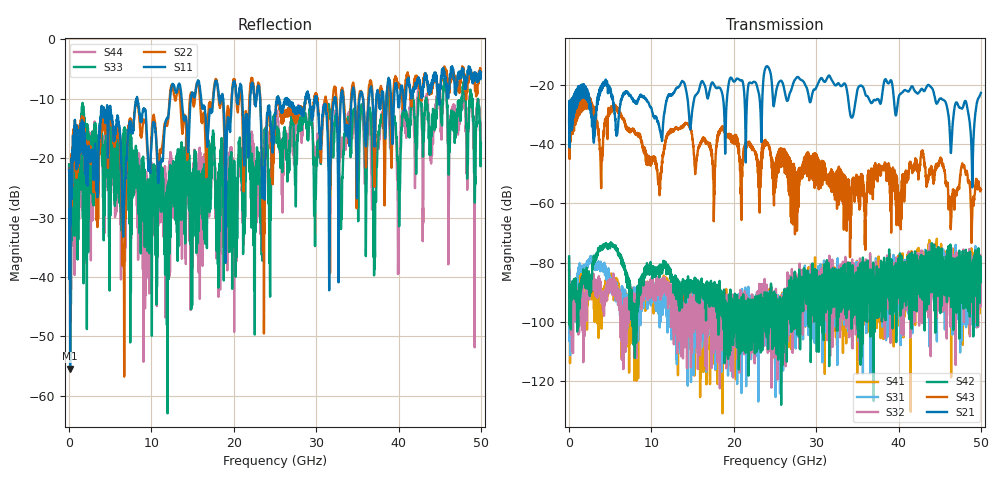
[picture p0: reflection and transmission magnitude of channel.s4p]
!Agilent Technologies,N5247A,US51170199,A.09.90.13
!Agilent N5247A: A.09.90.13
!Date: Wednesday, December 16, 2015 12:44:14
!Correction: S11(Full 4 Port(1,2,3,4))
!S12(Full 4 Port(1,2,3,4))
!S13(Full 4 Port(1,2,3,4))
!S14(Full 4 Port(1,2,3,4))
!S21(Full 4 Port(1,2,3,4))
!S22(Full 4 Port(1,2,3,4))
!S23(Full 4 Port(1,2,3,4))
!S24(Full 4 Port(1,2,3,4))
!S31(Full 4 Port(1,2,3,4))
!S32(Full 4 Port(1,2,3,4))
!S33(Full 4 Port(1,2,3,4))
!S34(Full 4 Port(1,2,3,4))
!S41(Full 4 Port(1,2,3,4))
!S42(Full 4 Port(1,2,3,4))
!S43(Full 4 Port(1,2,3,4))
!S44(Full 4 Port(1,2,3,4))
!S4P File: Measurements: <S11,S12,S13,S14>,
!<S21,S22,S23,S24>,
!<S31,S32,S33,S34>,
!<S41,S42,S43,S44>:
# Hz S  dB  R 50
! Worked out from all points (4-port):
!   3201 points, 10 MHz to 50 GHz, reference 50 ohm
!   strongest paths, dB at 10 MHz, 12.51 GHz, 25 GHz, 37.5 GHz, 50 GHz:
!     S21: -32.5, -23.4, -24.8, -24.9, -22.8
!     S43: -33.3, -35.1, -47.4, -47.5, -55.3
!     S42: -77.9, -85.0, -92.8, -86.0, -80.4
!     S32: -78.5, -101.9, -90.9, -82.7, -84.0
!     S31: -80.1, -95.8, -102.0, -86.0, -89.5
!     S41: -82.5, -91.8, -94.5, -92.7, -86.6
!   lowest |S11| = -55.5 dB at 135 MHz (marker M1), VSWR 1.00, Z = 50.1 + j0.16 ohm
!   |S11| at or under -10 dB: start of sweep to 8.23 GHz; 8.278 GHz to 12.26 GHz (3.981 GHz wide, 38.8 % of centre); 26.47 GHz to 28.7 GHz (2.237 GHz wide, 8.11 % of centre)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
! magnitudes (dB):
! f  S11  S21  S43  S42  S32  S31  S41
! 10 MHz  -22.0  -32.5  -33.3  -77.9  -78.5  -80.1  -82.5
! 135 MHz  -55.5  -32.7  -33.1  -98.8  -98.5  -111.3  -106.9
! 10.91 GHz  -22.7  -33.6  -54.1  -81.4  -88.5  -92.2  -95.9
! 14.19 GHz  -13.2  -21.7  -33.1  -87.0  -96.5  -95.9  -95.2
! 24.05 GHz  -12.5  -13.8  -39.5  -92.9  -102.4  -103.6  -91.8
! 48.94 GHz  -6.2  -52.0  -65.5  -80.4  -86.9  -84.2  -82.7
! 50 GHz  -5.6  -22.8  -55.3  -80.4  -84.0  -89.5  -86.6
